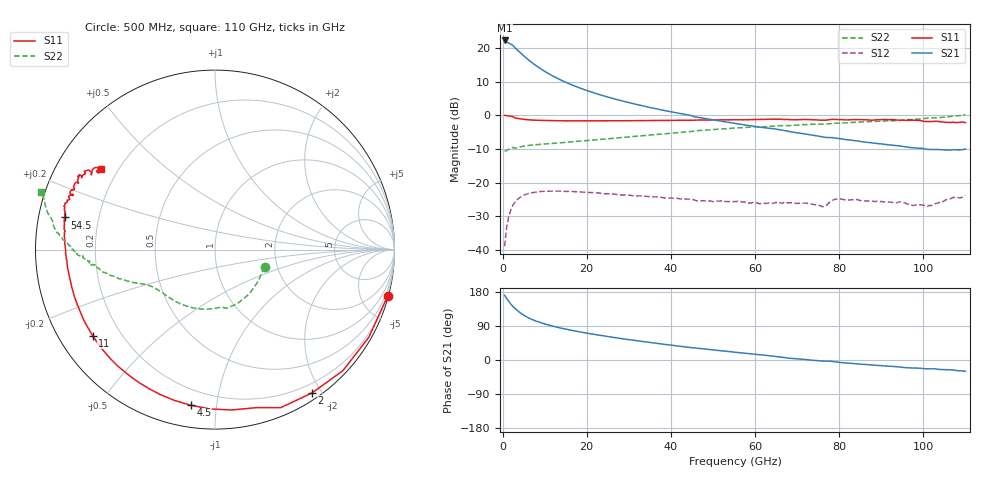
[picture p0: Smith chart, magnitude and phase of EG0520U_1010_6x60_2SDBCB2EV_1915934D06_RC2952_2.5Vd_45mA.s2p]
!File name = EG0520U_1010_6x60_2SDBCB2EV_1915934D06_RC2952_2.5Vd_45mA.s2p
!Base file name = EG0520U_1010_6x60_2SDBCB2EV_1915934D06_RC2952
!Date = 8/23/2019
!Time = 1:14 PM
!Test duration(min) = 0.15
!Test = S-Parameters
!MPTS version = 8.91.5
!State File = C:\Data\PNA\20190821205423\S-Parameters_2019-08-23.sta
!Cal File =
!ComputerName = CMPE-LAB-6
!Comments =
!Attenuation = 0
!Z0 = 50
!Input Power(dBm) = -13.00
!Device ID = EG0520U_1010_6x60_2SDBCB2EV
!Row = 29
!Column = 52
!Technology = QPHT09
!Lot/Wafer = 1915934D06
!Gate Size = 360
!Mask = EG0520
!Cal Standards = GaAs BCB
!Cal Kit = EG2306
!Job Number = 20190821205423
!Device Type = FET
!set_Vg(v) = -1.500
!set_Vd(v) = 2.500
!set_Vd(mA) = 45.000
!file_name = EG0520U_1010_6x60_2SDBCB2EV_1915934D06_RC2952_2.5Vd_45mA.s2p
!Vd(V) = 2.500
!Vd(mA) = 45.163
!Vg(V) = -0.448
!Vg(mA) = -0.001
# GHz  S  DB  R  50
!%	Freq(GHz)  s11(dB)  s11(deg)  s21(dB)  s21(deg)  s12(dB)  s12(deg)  s22(dB)  s22(deg)
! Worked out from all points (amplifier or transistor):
!   220 points, 500 MHz to 110 GHz, reference 50 ohm
!   highest |S21| = 22.2 dB at 500 MHz (marker M1)
!   |S21| within 3 dB of that: start of sweep to 3.665 GHz
!   unconditionally stable (mu >= 1): 33.19 GHz to 103.6 GHz
!   at 18.5 GHz: K = 0.53, MSG = 15.4 dB, |S12| = -22.8 dB
!   at 55.5 GHz: K = 1.48, MAG = 7.5 dB, |S12| = -25.6 dB
!   at 110 GHz: K = -1.23, MSG = 6.9 dB, |S12| = -23.9 dB
!   S11 on the Smith chart (normalised r, x): 500 MHz: 0.11, -7.60; 2 GHz: 0.08, -1.88; 4.5 GHz: 0.11, -0.85; 11 GHz: 0.10, -0.31; 54.5 GHz: 0.08, +0.10; 110 GHz: 0.14, +0.31
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0.5  -0.03 -15.0  22.24 170.9  -38.91 81.3  -10.69 -19.3
1  -0.12 -29.6  21.80 162.2  -33.15 73.4  -10.50 -36.6
2  -0.31 -55.9  21.14 147.3  -28.02 59.0  -9.74 -67.2
2.5  -0.41 -67.4  20.70 140.9  -26.66 53.1  -9.55 -78.8
3  -0.81 -75.2  20.00 135.8  -25.86 48.8  -9.83 -83.8
3.5  -0.93 -84.1  19.43 130.7  -25.12 44.4  -9.63 -92.1
4.5  -1.13 -98.8  18.27 122.2  -24.14 37.0  -9.30 -105.5
5.5  -1.27 -110.5  17.17 115.3  -23.55 31.4  -9.10 -115.4
6  -1.33 -115.4  16.64 112.3  -23.34 29.0  -9.00 -119.3
7  -1.42 -123.7  15.64 107.0  -23.04 25.0  -8.84 -125.7
9  -1.52 -135.9  13.86 98.8  -22.68 19.0  -8.64 -134.1
11  -1.58 -144.9  12.33 92.1  -22.57 14.5  -8.46 -140.0
14.5  -1.65 -155.7  10.10 82.7  -22.62 9.3  -8.11 -146.3
19  -1.67 -164.7  7.82 72.9  -22.84 4.9  -7.64 -150.8
26.5  -1.64 -174.3  4.89 59.4  -23.44 1.5  -6.81 -155.4
37  -1.53 177.6  1.80 43.2  -24.30 1.0  -5.66 -160.5
54.5  -1.34 167.9  -2.27 21.4  -25.67 5.6  -3.83 -169.2
55.5  -1.34 167.3  -2.46 20.2  -25.64 4.9  -3.76 -169.7
73.5  -1.32 159.3  -5.88 -0.5  -26.43 2.9  -2.66 -176.4
92  -1.32 151.1  -8.82 -16.5  -25.81 -9.3  -1.64 177.1
101  -1.88 148.9  -10.14 -23.2  -26.99 -8.1  -0.89 172.3
110  -2.17 144.6  -10.07 -29.9  -23.86 -11.2  0.20 161.6
